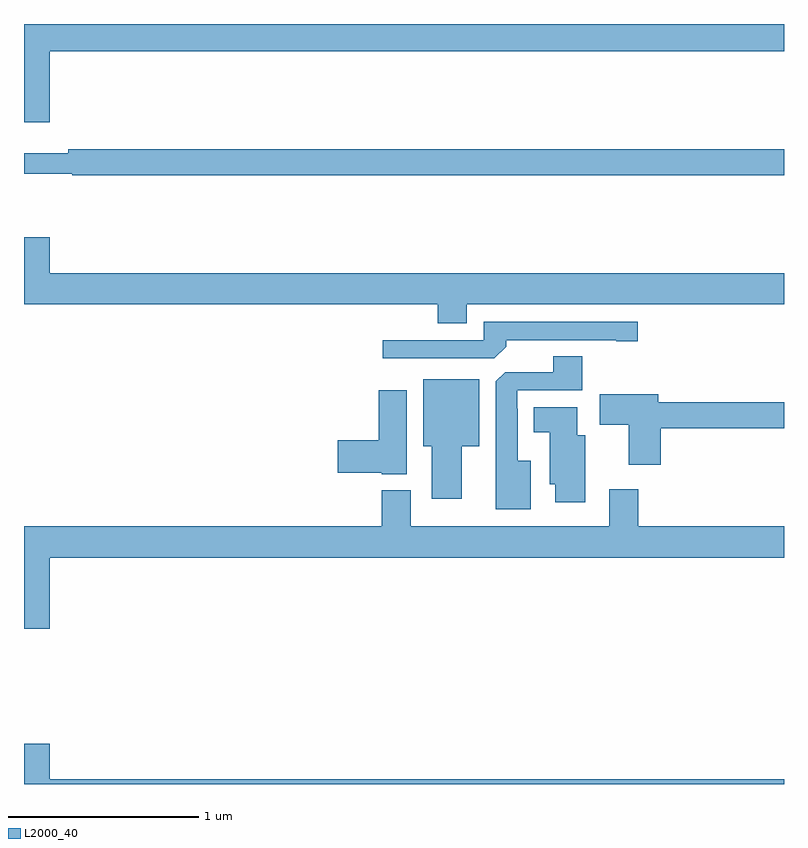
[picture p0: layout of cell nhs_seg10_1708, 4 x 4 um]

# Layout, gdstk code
import gdstk
lib = gdstk.Library(unit=1e-6, precision=1e-09)
def P(c, l, *ps):  # polygons
    for p in ps: c.add(gdstk.Polygon(p, *l))
L2000_40 = (2000, 40)

nhs_seg10_1708 = lib.new_cell('nhs_seg10_1708')
P(nhs_seg10_1708, L2000_40, [(201.136,1260.356),(205,1260.356),(205,1260.5),(201,1260.5),(201,1259.982),(201.136,1259.982)],
  [(205,1259.84),(201.232,1259.84),(201.232,1259.821),(201,1259.821),(201,1259.712),(201.255,1259.712),(201.255,1259.704),(205,1259.704)],
  [(203.329,1259.024),(205,1259.024),(205,1259.188),(201.136,1259.188),(201.136,1259.377),(201,1259.377),(201,1259.024),(203.177,1259.024),(203.177,1258.925),(203.329,1258.925)],
  [(203.537,1258.802),(203.537,1258.836),(204.116,1258.836),(204.116,1258.831),(204.229,1258.831),(204.229,1258.932),(203.421,1258.932),(203.421,1258.836),(202.887,1258.836),(202.887,1258.74),(203.475,1258.74)],
  [(203.668,1258.201),(203.599,1258.201),(203.599,1258.475),(203.595,1258.475),(203.595,1258.572),(203.939,1258.572),(203.939,1258.751),(203.786,1258.751),(203.786,1258.668),(203.532,1258.668),(203.483,1258.619),(203.483,1257.947),(203.668,1257.947)],
  [(203.305,1258.277),(203.395,1258.277),(203.395,1258.63),(203.102,1258.63),(203.102,1258.277),(203.147,1258.277),(203.147,1258.002),(203.305,1258.002)],
  [(203.014,1258.573),(202.868,1258.573),(202.868,1258.31),(202.65,1258.31),(202.65,1258.139),(202.884,1258.139),(202.884,1258.13),(203.014,1258.13)],
  [(204.35,1258.372),(205,1258.372),(205,1258.508),(204.337,1258.508),(204.337,1258.552),(204.03,1258.552),(204.03,1258.39),(204.182,1258.39),(204.182,1258.179),(204.35,1258.179)],
  [(203.953,1258.336),(203.911,1258.336),(203.911,1258.483),(203.684,1258.483),(203.684,1258.352),(203.768,1258.352),(203.768,1258.077),(203.795,1258.077),(203.795,1257.984),(203.953,1257.984)],
  [(201.136,1257.692),(205,1257.692),(205,1257.856),(204.233,1257.856),(204.233,1258.051),(204.08,1258.051),(204.08,1257.856),(203.035,1257.856),(203.035,1258.045),(202.883,1258.045),(202.883,1257.856),(201,1257.856),(201,1257.318),(201.136,1257.318)],
  [(205,1256.524),(201.136,1256.524),(201.136,1256.713),(201,1256.713),(201,1256.5),(205,1256.5)])

lib.write_gds('nhs_seg10_1708.gds')
